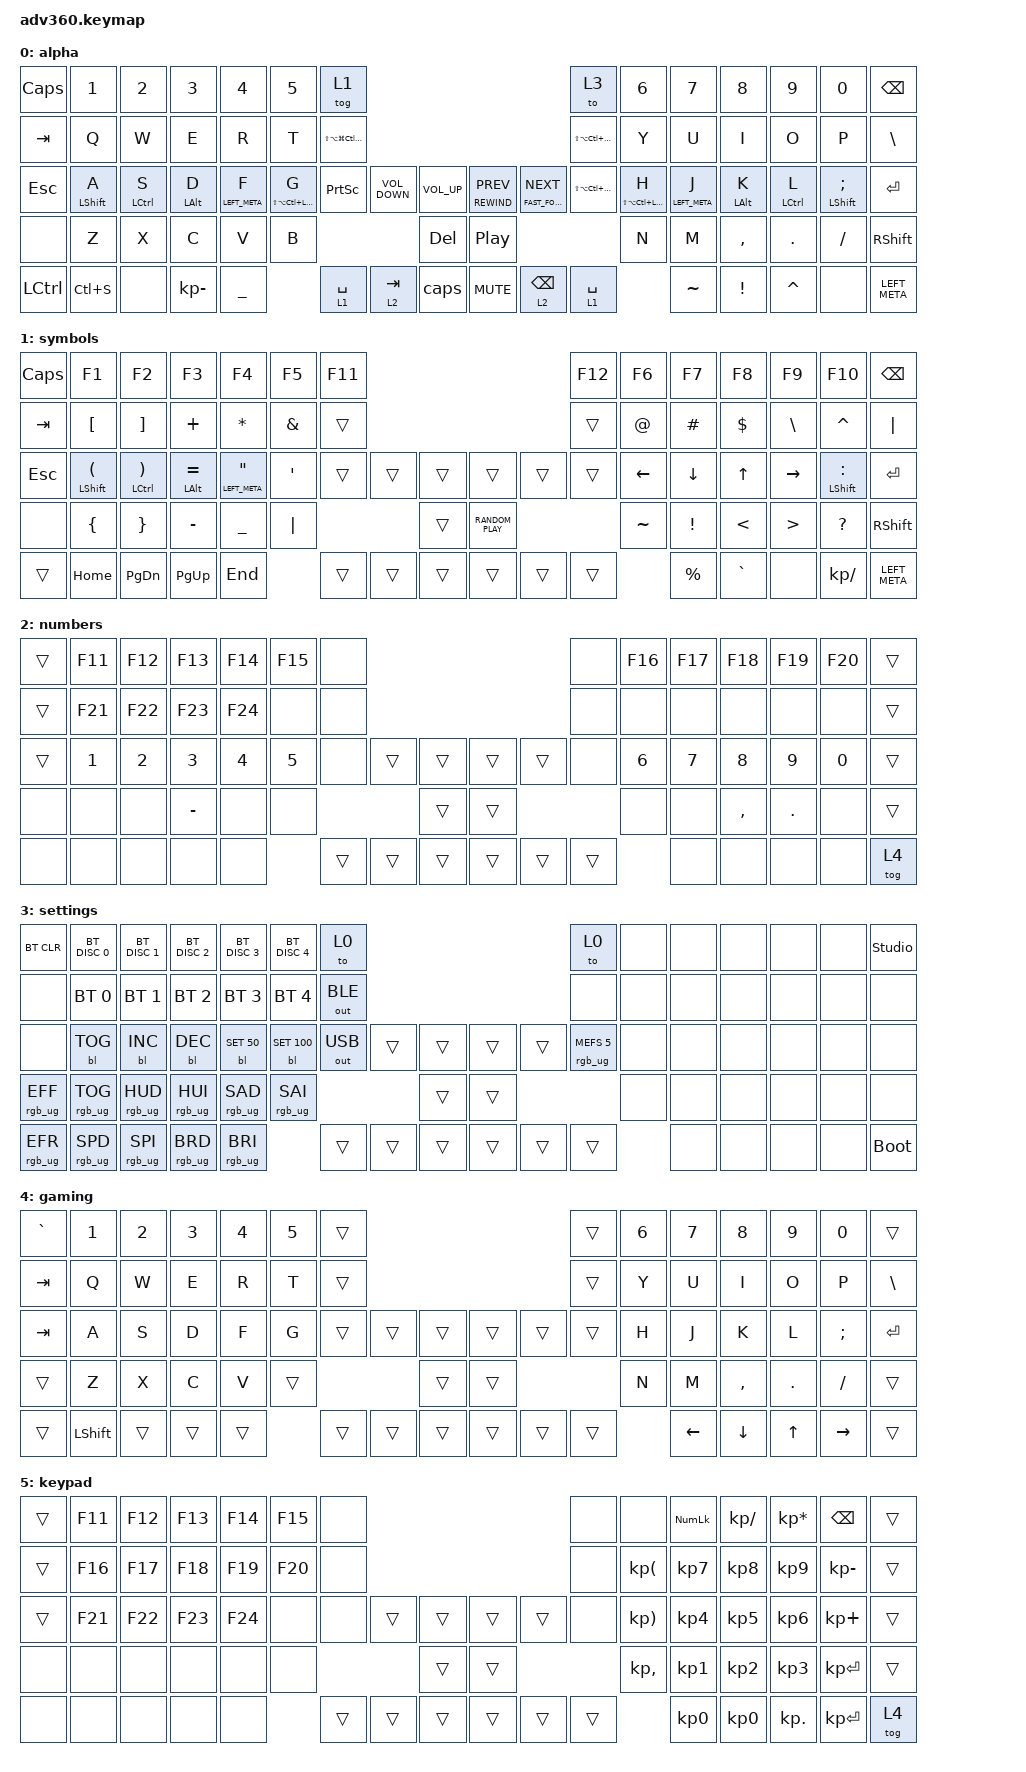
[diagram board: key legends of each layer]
#include <dt-bindings/zmk/stp.h>
#include <behaviors.dtsi>
#include <dt-bindings/zmk/backlight.h>
#include <dt-bindings/zmk/bt.h>
#include <dt-bindings/zmk/keys.h>
#include <dt-bindings/zmk/outputs.h>
#include <dt-bindings/zmk/rgb.h>

&lt { tapping-term-ms = <140>; };

/ {
    behaviors {
        #include "macros.dtsi"
      #include "version.dtsi"

        hm: homerow_mods {
            compatible = "zmk,behavior-hold-tap";
            label = "HOMEROW_MODS";
            #binding-cells = <2>;
            tapping-term-ms = <140>;
            flavor = "tap-preferred";
            bindings = <&kp>, <&kp>;

            quick-tap-ms = <140>;
        };

        media: media {
            compatible = "zmk,behavior-hold-tap";
            label = "MEDIA";
            bindings = <&kp>, <&kp>;

            #binding-cells = <2>;
            tapping-term-ms = <500>;
            flavor = "tap-preferred";
        };

        caps: caps {
            compatible = "zmk,behavior-tap-dance";
            label = "CAPS";
            #binding-cells = <0>;
            bindings = <&caps_word>, <&kp CAPS>;
        };

        lth: layer_tap_hold {
            compatible = "zmk,behavior-hold-tap";
            label = "LTH";
            #binding-cells = <2>;
            bindings = <&mo>, <&kp>;

            tapping-term-ms = <140>;
            quick-tap-ms = <140>;
            flavor = "tap-preferred";
        };
    };

    macros {
        arrow: arrow {
            compatible = "zmk,behavior-macro";
            #binding-cells = <0>;
            bindings = <&kp MINUS &kp GREATER_THAN>;
            label = "ARROW";
        };
    };

    combos {
        compatible = "zmk,combos";

        tilde {
            bindings = <&kp GRAVE>;
            key-positions = <32 31>;
            layers = <1>;
            timeout-ms = <100>;
        };
    };

    keymap {
        compatible = "zmk,keymap";

        alpha {
            bindings = <
&kp CAPSLOCK  &kp N1            &kp N2              &kp N3          &kp N4           &kp N5                       &tog 1                                                                                                                 &to 3                    &kp N6                       &kp N7           &kp N8          &kp N9              &kp N0                    &kp BACKSPACE
&kp TAB       &kp Q             &kp W               &kp E           &kp R            &kp T                        &kp LS(LA(LG(LC(F21))))                                                                                                &kp LS(LA(LC(LG(F22))))  &kp Y                        &kp U            &kp I           &kp O               &kp P                     &kp BSLH
&kp ESC       &hm LEFT_SHIFT A  &hm LEFT_CONTROL S  &hm LEFT_ALT D  &hm LEFT_META F  &hm LS(LA(LC(LEFT_META))) G  &kp PRINTSCREEN          &kp C_VOLUME_DOWN  &kp C_VOLUME_UP      &media C_REWIND C_PREV  &media C_FAST_FORWARD C_NEXT  &kp LS(LA(LC(LG(F23))))  &hm LS(LA(LC(LEFT_META))) H  &hm LEFT_META J  &hm LEFT_ALT K  &hm LEFT_CONTROL L  &hm LEFT_SHIFT SEMICOLON  &kp ENTER
&none         &kp Z             &kp X               &kp C           &kp V            &kp B                                                                    &kp DELETE           &kp C_PLAY_PAUSE                                                               &kp N                        &kp M            &kp COMMA       &kp DOT             &kp FSLH                  &kp RSHFT
&kp LCTRL     &kp LC(S)         &none               &kp KP_MINUS    &kp UNDERSCORE                                &lth 1 SPACE             &lth 2 TAB         &caps                &kp C_MUTE              &lth 2 BACKSPACE              &lth 1 SPACE                                          &kp TILDE        &kp EXCL        &kp CARET           &none                     &kp LEFT_META
            >;
        };

        symbols {
            bindings = <
&kp CAPSLOCK  &kp F1                           &kp F2                              &kp F3              &kp F4                       &kp F5            &kp F11                                                 &kp F12  &kp F6       &kp F7          &kp F8         &kp F9            &kp F10               &kp BACKSPACE
&kp TAB       &kp LEFT_BRACKET                 &kp RIGHT_BRACKET                   &kp PLUS            &kp ASTERISK                 &kp AMPS          &trans                                                  &trans   &kp AT_SIGN  &kp POUND       &kp DOLLAR     &kp BACKSLASH     &kp CARET             &kp PIPE
&kp ESC       &hm LEFT_SHIFT LEFT_PARENTHESIS  &hm LEFT_CONTROL RIGHT_PARENTHESIS  &hm LEFT_ALT EQUAL  &hm LEFT_META DOUBLE_QUOTES  &kp SINGLE_QUOTE  &trans   &trans  &trans      &trans             &trans  &trans   &kp LEFT     &kp DOWN_ARROW  &kp UP_ARROW   &kp RIGHT         &hm LEFT_SHIFT COLON  &kp ENTER
&none         &kp LEFT_BRACE                   &kp RBRC                            &kp MINUS           &kp UNDERSCORE               &kp PIPE                           &trans      &kp C_RANDOM_PLAY                   &kp TILDE    &kp EXCL        &kp LESS_THAN  &kp GREATER_THAN  &kp QUESTION          &kp RSHFT
&trans        &kp HOME                         &kp PAGE_DOWN                       &kp PAGE_UP         &kp END                                        &trans   &trans  &trans      &trans             &trans  &trans                &kp PERCENT     &kp GRAVE      &none             &kp KP_SLASH          &kp LEFT_META
            >;
        };

        numbers {
            bindings = <
&trans  &kp F11  &kp F12  &kp F13    &kp F14  &kp F15  &none                                       &none   &kp F16  &kp F17  &kp F18    &kp F19     &kp F20  &trans
&trans  &kp F21  &kp F22  &kp F23    &kp F24  &none    &none                                       &none   &none    &none    &none      &none       &none    &trans
&trans  &kp N1   &kp N2   &kp N3     &kp N4   &kp N5   &none   &trans  &trans      &trans  &trans  &none   &kp N6   &kp N7   &kp N8     &kp N9      &kp N0   &trans
&none   &none    &none    &kp MINUS  &none    &none                    &trans      &trans                  &none    &none    &kp COMMA  &kp PERIOD  &none    &trans
&none   &none    &none    &none      &none             &trans  &trans  &trans      &trans  &trans  &trans           &none    &none      &none       &none    &tog 4
            >;
        };

        settings {
            bindings = <
&bt BT_CLR       &bt BT_DISC 0    &bt BT_DISC 1    &bt BT_DISC 2    &bt BT_DISC 3    &bt BT_DISC 4    &to 0                                             &to 0                   &none  &none  &none  &none  &none  &studio_unlock
&none            &bt BT_SEL 0     &bt BT_SEL 1     &bt BT_SEL 2     &bt BT_SEL 3     &bt BT_SEL 4     &out OUT_BLE                                      &none                   &none  &none  &none  &none  &none  &none
&none            &bl BL_TOG       &bl BL_INC       &bl BL_DEC       &bl BL_SET 50    &bl BL_SET 100   &out OUT_USB  &trans  &trans      &trans  &trans  &rgb_ug RGB_MEFS_CMD 5  &none  &none  &none  &none  &none  &none
&rgb_ug RGB_EFF  &rgb_ug RGB_TOG  &rgb_ug RGB_HUD  &rgb_ug RGB_HUI  &rgb_ug RGB_SAD  &rgb_ug RGB_SAI                        &trans      &trans                                  &none  &none  &none  &none  &none  &none
&rgb_ug RGB_EFR  &rgb_ug RGB_SPD  &rgb_ug RGB_SPI  &rgb_ug RGB_BRD  &rgb_ug RGB_BRI                   &trans        &trans  &trans      &trans  &trans  &trans                         &none  &none  &none  &none  &bootloader
            >;
        };

        gaming {
            bindings = <
&kp GRAVE  &kp N1     &kp N2  &kp N3  &kp N4  &kp N5  &trans                                      &trans  &kp N6  &kp N7    &kp N8     &kp N9   &kp N0     &trans
&kp TAB    &kp Q      &kp W   &kp E   &kp R   &kp T   &trans                                      &trans  &kp Y   &kp U     &kp I      &kp O    &kp P      &kp BSLH
&kp TAB    &kp A      &kp S   &kp D   &kp F   &kp G   &trans  &trans  &trans      &trans  &trans  &trans  &kp H   &kp J     &kp K      &kp L    &kp SEMI   &kp RET
&trans     &kp Z      &kp X   &kp C   &kp V   &trans                  &trans      &trans                  &kp N   &kp M     &kp COMMA  &kp DOT  &kp FSLH   &trans
&trans     &kp LSHFT  &trans  &trans  &trans          &trans  &trans  &trans      &trans  &trans  &trans          &kp LEFT  &kp DOWN   &kp UP   &kp RIGHT  &trans
            >;
        };

        keypad {
            bindings = <
&trans  &kp F11  &kp F12  &kp F13  &kp F14  &kp F15  &none                                       &none   &none         &kp KP_NUMLOCK   &kp KP_SLASH     &kp KP_MULTIPLY  &kp BACKSPACE  &trans
&trans  &kp F16  &kp F17  &kp F18  &kp F19  &kp F20  &none                                       &none   &kp KP_LPAR   &kp KP_NUMBER_7  &kp KP_NUMBER_8  &kp KP_NUMBER_9  &kp KP_MINUS   &trans
&trans  &kp F21  &kp F22  &kp F23  &kp F24  &none    &none   &trans  &trans      &trans  &trans  &none   &kp KP_RPAR   &kp KP_NUMBER_4  &kp KP_NUMBER_5  &kp KP_NUMBER_6  &kp KP_PLUS    &trans
&none   &none    &none    &none    &none    &none                    &trans      &trans                  &kp KP_COMMA  &kp KP_NUMBER_1  &kp KP_NUMBER_2  &kp KP_NUMBER_3  &kp KP_ENTER   &trans
&none   &none    &none    &none    &none             &trans  &trans  &trans      &trans  &trans  &trans                &kp KP_NUMBER_0  &kp KP_N0        &kp KP_DOT       &kp KP_ENTER   &tog 4
            >;
        };
    };
};
